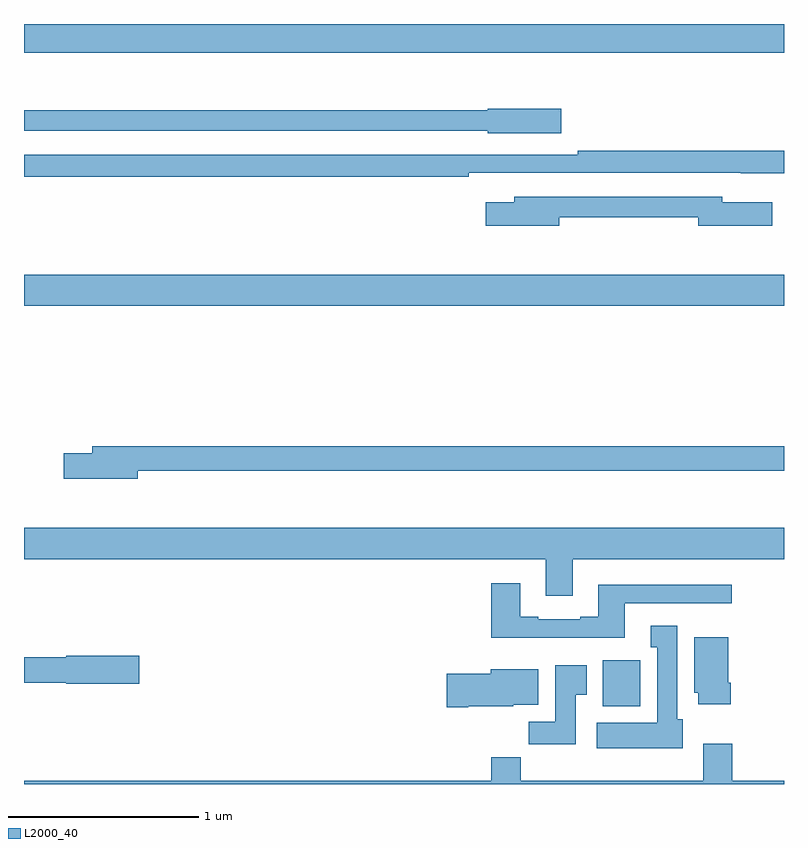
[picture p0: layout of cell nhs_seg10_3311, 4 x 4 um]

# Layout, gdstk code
import gdstk
lib = gdstk.Library(unit=1e-6, precision=1e-09)
def R(c, l, rs):  # rectangles x0, y0, x1, y1
    for r in rs: c.add(gdstk.rectangle(r[:2], r[2:], *l))
def P(c, l, *ps):  # polygons
    for p in ps: c.add(gdstk.Polygon(p, *l))
L2000_40 = (2000, 40)

nhs_seg10_3311 = lib.new_cell('nhs_seg10_3311')
R(nhs_seg10_3311, L2000_40, [(294.047,1264.91,294.244,1265.152), (291,1267.016,295,1267.18), (291,1268.348,295,1268.5)])
P(nhs_seg10_3311, L2000_40, [(293.827,1268.055),(293.442,1268.055),(293.442,1268.047),(291,1268.047),(291,1267.938),(293.442,1267.938),(293.442,1267.925),(293.827,1267.925)],
  [(293.342,1267.716),(294.772,1267.716),(294.772,1267.715),(295,1267.715),(295,1267.832),(293.914,1267.832),(293.914,1267.812),(291,1267.812),(291,1267.696),(293.342,1267.696)],
  [(293.818,1267.482),(294.548,1267.482),(294.548,1267.439),(294.937,1267.439),(294.937,1267.561),(294.676,1267.561),(294.676,1267.59),(293.579,1267.59),(293.579,1267.561),(293.43,1267.561),(293.43,1267.439),(293.818,1267.439)],
  [(291.598,1266.15),(295,1266.15),(295,1266.278),(291.359,1266.278),(291.359,1266.242),(291.21,1266.242),(291.21,1266.107),(291.598,1266.107)],
  [(293.887,1265.684),(295,1265.684),(295,1265.848),(291,1265.848),(291,1265.684),(293.747,1265.684),(293.747,1265.49),(293.887,1265.49)],
  [(294.163,1265.451),(294.724,1265.451),(294.724,1265.548),(294.023,1265.548),(294.023,1265.38),(293.927,1265.38),(293.927,1265.367),(293.707,1265.367),(293.707,1265.38),(293.611,1265.38),(293.611,1265.557),(293.459,1265.557),(293.459,1265.27),(294.163,1265.27)],
  [(294.466,1264.842),(294.439,1264.842),(294.439,1265.332),(294.299,1265.332),(294.299,1265.219),(294.332,1265.219),(294.332,1264.822),(294.015,1264.822),(294.015,1264.688),(294.466,1264.688)],
  [(294.719,1265.032),(294.706,1265.032),(294.706,1265.272),(294.527,1265.272),(294.527,1264.98),(294.548,1264.98),(294.548,1264.92),(294.719,1264.92)],
  [(291.607,1265.174),(291.222,1265.174),(291.222,1265.168),(291,1265.168),(291,1265.032),(291.222,1265.032),(291.222,1265.027),(291.607,1265.027)],
  [(293.905,1264.969),(293.962,1264.969),(293.962,1265.125),(293.795,1265.125),(293.795,1264.828),(293.656,1264.828),(293.656,1264.71),(293.905,1264.71)],
  [(293.338,1264.91),(293.574,1264.91),(293.574,1264.916),(293.707,1264.916),(293.707,1265.104),(293.456,1265.104),(293.456,1265.081),(293.226,1265.081),(293.226,1264.903),(293.338,1264.903)],
  [(295,1264.516),(294.728,1264.516),(294.728,1264.711),(294.575,1264.711),(294.575,1264.516),(293.615,1264.516),(293.615,1264.64),(293.459,1264.64),(293.459,1264.516),(291,1264.516),(291,1264.5),(295,1264.5)])

lib.write_gds('nhs_seg10_3311.gds')
